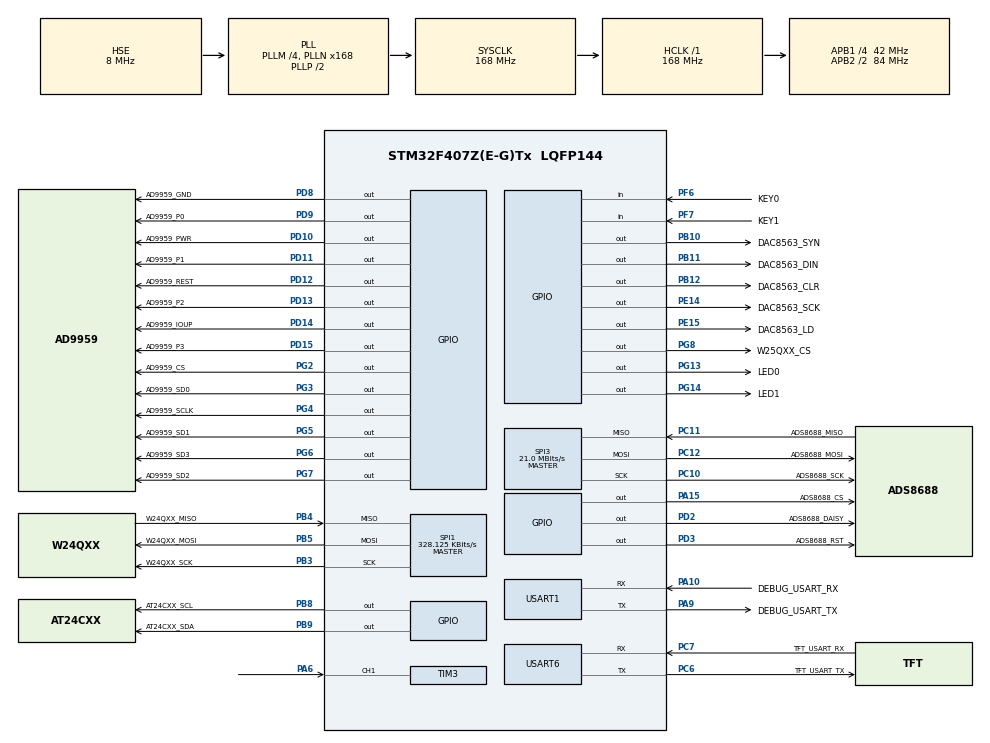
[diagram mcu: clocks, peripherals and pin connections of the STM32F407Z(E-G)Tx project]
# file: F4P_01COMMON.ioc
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Dma.Request0=SPI3_RX
Dma.Request1=SPI3_TX
Dma.Request2=USART6_TX
Dma.SPI3_RX.0.Direction=DMA_PERIPH_TO_MEMORY
Dma.SPI3_RX.0.FIFOMode=DMA_FIFOMODE_DISABLE
Dma.SPI3_RX.0.Instance=DMA1_Stream0
Dma.SPI3_RX.0.MemDataAlignment=DMA_MDATAALIGN_HALFWORD
Dma.SPI3_RX.0.MemInc=DMA_MINC_ENABLE
Dma.SPI3_RX.0.Mode=DMA_NORMAL
Dma.SPI3_RX.0.PeriphDataAlignment=DMA_PDATAALIGN_HALFWORD
Dma.SPI3_RX.0.PeriphInc=DMA_PINC_DISABLE
Dma.SPI3_RX.0.Priority=DMA_PRIORITY_LOW
Dma.SPI3_TX.1.Direction=DMA_MEMORY_TO_PERIPH
Dma.SPI3_TX.1.FIFOMode=DMA_FIFOMODE_DISABLE
Dma.SPI3_TX.1.Instance=DMA1_Stream5
Dma.SPI3_TX.1.MemDataAlignment=DMA_MDATAALIGN_HALFWORD
Dma.SPI3_TX.1.MemInc=DMA_MINC_ENABLE
Dma.SPI3_TX.1.Mode=DMA_NORMAL
Dma.SPI3_TX.1.PeriphDataAlignment=DMA_PDATAALIGN_HALFWORD
Dma.SPI3_TX.1.PeriphInc=DMA_PINC_DISABLE
Dma.SPI3_TX.1.Priority=DMA_PRIORITY_LOW
Dma.USART6_TX.2.Direction=DMA_MEMORY_TO_PERIPH
Dma.USART6_TX.2.FIFOMode=DMA_FIFOMODE_DISABLE
Dma.USART6_TX.2.Instance=DMA2_Stream6
Dma.USART6_TX.2.MemDataAlignment=DMA_MDATAALIGN_BYTE
Dma.USART6_TX.2.MemInc=DMA_MINC_ENABLE
Dma.USART6_TX.2.Mode=DMA_NORMAL
Dma.USART6_TX.2.PeriphDataAlignment=DMA_PDATAALIGN_BYTE
Dma.USART6_TX.2.PeriphInc=DMA_PINC_DISABLE
Dma.USART6_TX.2.Priority=DMA_PRIORITY_LOW
FREERTOS.CountingSemaphores01=TFT_RX_LED,10,Dynamic,NULL;TFT_TX_LED,10,Dynamic,NULL
FREERTOS.HEAP_NUMBER=5
FREERTOS.Queues01=USART6_RX,5,CTRL_MSG,0,Dynamic,NULL,NULL
FREERTOS.Tasks01=defaultTask,8,128,StartDefaultTask,Default,NULL,Dynamic,NULL,NULL;LED0_Toggle,48,128,StartLED0Toggle,As weak,NULL,Dynamic,NULL,NULL;LED1_Toggle,48,128,StartLED1Toggle,As weak,NULL,Dynamic,NULL,NULL;TFT_CMD_Process,40,128,TFT_CMD_Process_Start,As weak,NULL,Dynamic,NULL,NULL;FLASH_Data_Auto,24,128,FLASH_Data_AutoUpdate_Start,As weak,NULL,Dynamic,NULL,NULL;MainTask,39,1024,MainTask_Start,As weak,NULL,Dynamic,NULL,NULL
FREERTOS.configENABLE_FPU=1
FREERTOS.configTOTAL_HEAP_SIZE=0x6000
FREERTOS.configUSE_NEWLIB_REENTRANT=1
Mcu.Family=STM32F4
Mcu.Name=STM32F407Z(E-G)Tx
Mcu.Package=LQFP144
NVIC.DMA1_Stream0_IRQn=true\:0\:0\:true\:true\:true\:1\:false\:false\:true
NVIC.DMA1_Stream5_IRQn=true\:0\:0\:true\:true\:true\:2\:false\:false\:true
NVIC.DMA2_Stream6_IRQn=true\:5\:0\:false\:false\:true\:true\:false\:true
NVIC.PriorityGroup=NVIC_PRIORITYGROUP_4
NVIC.TIM1_UP_TIM10_IRQn=true\:1\:0\:true\:true\:true\:3\:false\:true\:true
NVIC.TIM3_IRQn=true\:0\:0\:true\:true\:true\:4\:false\:true\:true
NVIC.TIM5_IRQn=true\:1\:0\:true\:true\:true\:6\:false\:true\:true
NVIC.TIM6_DAC_IRQn=true\:15\:0\:false\:false\:true\:false\:false\:true
NVIC.TIM7_IRQn=true\:6\:0\:true\:false\:true\:true\:true\:true
NVIC.TimeBase=TIM6_DAC_IRQn
NVIC.TimeBaseIP=TIM6
NVIC.USART1_IRQn=true\:6\:0\:true\:true\:true\:5\:true\:true\:true
NVIC.USART6_IRQn=true\:5\:0\:false\:true\:true\:7\:true\:true\:true
PA10.GPIO_Label=DEBUG_USART_RX
PA10.Mode=Asynchronous
PA10.Signal=USART1_RX
PA13.Mode=Serial_Wire
PA13.Signal=SYS_JTMS-SWDIO
PA14.Mode=Serial_Wire
PA14.Signal=SYS_JTCK-SWCLK
PA15.GPIO_Label=ADS8688_CS
PA15.GPIO_PuPd=GPIO_PULLUP
PA15.GPIO_Speed=GPIO_SPEED_FREQ_VERY_HIGH
PA15.PinState=GPIO_PIN_SET
PA15.Signal=GPIO_Output
PA6.Signal=S_TIM3_CH1
PA9.GPIO_Label=DEBUG_USART_TX
PA9.Mode=Asynchronous
PA9.Signal=USART1_TX
PB10.GPIO_Label=DAC8563_SYN
PB10.GPIO_Speed=GPIO_SPEED_FREQ_VERY_HIGH
PB10.Signal=GPIO_Output
PB11.GPIO_Label=DAC8563_DIN
PB11.GPIO_Speed=GPIO_SPEED_FREQ_VERY_HIGH
PB11.Signal=GPIO_Output
PB12.GPIO_Label=DAC8563_CLR
PB12.GPIO_Speed=GPIO_SPEED_FREQ_VERY_HIGH
PB12.Signal=GPIO_Output
PB3.GPIO_Label=W24QXX_SCK
PB3.GPIO_PuPd=GPIO_PULLUP
PB3.GPIO_Speed=GPIO_SPEED_FREQ_VERY_HIGH
PB3.Mode=Full_Duplex_Master
PB3.Signal=SPI1_SCK
PB4.GPIO_Label=W24QXX_MISO
PB4.GPIO_PuPd=GPIO_PULLUP
PB4.GPIO_Speed=GPIO_SPEED_FREQ_VERY_HIGH
PB4.Mode=Full_Duplex_Master
PB4.Signal=SPI1_MISO
PB5.GPIO_Label=W24QXX_MOSI
PB5.GPIO_PuPd=GPIO_PULLUP
PB5.GPIO_Speed=GPIO_SPEED_FREQ_VERY_HIGH
PB5.Mode=Full_Duplex_Master
PB5.Signal=SPI1_MOSI
PB8.GPIO_Label=AT24CXX_SCL
PB8.GPIO_PuPd=GPIO_PULLUP
PB8.GPIO_Speed=GPIO_SPEED_FREQ_VERY_HIGH
PB8.Signal=GPIO_Output
PB9.GPIO_Label=AT24CXX_SDA
PB9.GPIO_PuPd=GPIO_PULLUP
PB9.GPIO_Speed=GPIO_SPEED_FREQ_VERY_HIGH
PB9.Signal=GPIO_Output
PC10.GPIO_Label=ADS8688_SCK
PC10.Mode=Full_Duplex_Master
PC10.Signal=SPI3_SCK
PC11.GPIO_Label=ADS8688_MISO
PC11.Mode=Full_Duplex_Master
PC11.Signal=SPI3_MISO
PC12.GPIO_Label=ADS8688_MOSI
PC12.Mode=Full_Duplex_Master
PC12.Signal=SPI3_MOSI
PC6.GPIO_Label=TFT_USART_TX
PC6.Mode=Asynchronous
PC6.Signal=USART6_TX
PC7.GPIO_Label=TFT_USART_RX
PC7.Mode=Asynchronous
PC7.Signal=USART6_RX
PD10.GPIO_Label=AD9959_PWR
PD10.GPIO_Speed=GPIO_SPEED_FREQ_VERY_HIGH
PD10.Signal=GPIO_Output
PD11.GPIO_Label=AD9959_P1
PD11.GPIO_Speed=GPIO_SPEED_FREQ_VERY_HIGH
PD11.Signal=GPIO_Output
PD12.GPIO_Label=AD9959_REST
PD12.GPIO_Speed=GPIO_SPEED_FREQ_VERY_HIGH
PD12.Signal=GPIO_Output
PD13.GPIO_Label=AD9959_P2
PD13.GPIO_Speed=GPIO_SPEED_FREQ_VERY_HIGH
PD13.Signal=GPIO_Output
PD14.GPIO_Label=AD9959_IOUP
PD14.GPIO_Speed=GPIO_SPEED_FREQ_VERY_HIGH
PD14.Signal=GPIO_Output
PD15.GPIO_Label=AD9959_P3
PD15.GPIO_Speed=GPIO_SPEED_FREQ_VERY_HIGH
PD15.Signal=GPIO_Output
PD2.GPIO_Label=ADS8688_DAISY
PD2.GPIO_ModeDefaultOutputPP=GPIO_MODE_OUTPUT_PP
PD2.GPIO_PuPd=GPIO_PULLUP
PD2.GPIO_Speed=GPIO_SPEED_FREQ_LOW
PD2.PinState=GPIO_PIN_SET
PD2.Signal=GPIO_Output
PD3.GPIO_Label=ADS8688_RST
PD3.GPIO_ModeDefaultOutputPP=GPIO_MODE_OUTPUT_PP
PD3.GPIO_PuPd=GPIO_PULLUP
PD3.GPIO_Speed=GPIO_SPEED_FREQ_LOW
PD3.PinState=GPIO_PIN_SET
PD3.Signal=GPIO_Output
PD8.GPIO_Label=AD9959_GND
PD8.GPIO_Speed=GPIO_SPEED_FREQ_VERY_HIGH
PD8.Signal=GPIO_Output
PD9.GPIO_Label=AD9959_P0
PD9.GPIO_Speed=GPIO_SPEED_FREQ_VERY_HIGH
PD9.Signal=GPIO_Output
PE14.GPIO_Label=DAC8563_SCK
PE14.GPIO_Speed=GPIO_SPEED_FREQ_VERY_HIGH
PE14.Signal=GPIO_Output
PE15.GPIO_Label=DAC8563_LD
PE15.GPIO_Speed=GPIO_SPEED_FREQ_VERY_HIGH
PE15.Signal=GPIO_Output
PF6.GPIO_Label=KEY0
PF6.GPIO_PuPd=GPIO_PULLUP
PF6.Signal=GPIO_Input
PF7.GPIO_Label=KEY1
PF7.GPIO_PuPd=GPIO_PULLUP
PF7.Signal=GPIO_Input
PG13.GPIO_Label=LED0
PG13.GPIO_ModeDefaultOutputPP=GPIO_MODE_OUTPUT_PP
PG13.GPIO_PuPd=GPIO_PULLUP
PG13.GPIO_Speed=GPIO_SPEED_FREQ_VERY_HIGH
PG13.PinState=GPIO_PIN_SET
PG13.Signal=GPIO_Output
PG14.GPIO_Label=LED1
PG14.GPIO_ModeDefaultOutputPP=GPIO_MODE_OUTPUT_PP
PG14.GPIO_PuPd=GPIO_PULLUP
PG14.GPIO_Speed=GPIO_SPEED_FREQ_VERY_HIGH
PG14.PinState=GPIO_PIN_SET
PG14.Signal=GPIO_Output
PG2.GPIO_Label=AD9959_CS
PG2.GPIO_Speed=GPIO_SPEED_FREQ_VERY_HIGH
PG2.Signal=GPIO_Output
PG3.GPIO_Label=AD9959_SD0
PG3.GPIO_Speed=GPIO_SPEED_FREQ_VERY_HIGH
PG3.Signal=GPIO_Output
PG4.GPIO_Label=AD9959_SCLK
PG4.GPIO_Speed=GPIO_SPEED_FREQ_VERY_HIGH
PG4.Signal=GPIO_Output
PG5.GPIO_Label=AD9959_SD1
PG5.GPIO_Speed=GPIO_SPEED_FREQ_VERY_HIGH
PG5.Signal=GPIO_Output
PG6.GPIO_Label=AD9959_SD3
PG6.GPIO_Speed=GPIO_SPEED_FREQ_VERY_HIGH
PG6.Signal=GPIO_Output
PG7.GPIO_Label=AD9959_SD2
PG7.GPIO_Speed=GPIO_SPEED_FREQ_VERY_HIGH
PG7.Signal=GPIO_Output
PG8.GPIO_Label=W25QXX_CS
PG8.GPIO_PuPd=GPIO_PULLUP
PG8.GPIO_Speed=GPIO_SPEED_FREQ_VERY_HIGH
PG8.PinState=GPIO_PIN_SET
PG8.Signal=GPIO_Output
PH0-OSC_IN.Mode=HSE-External-Oscillator
PH0-OSC_IN.Signal=RCC_OSC_IN
PH1-OSC_OUT.Mode=HSE-External-Oscillator
PH1-OSC_OUT.Signal=RCC_OSC_OUT
ProjectManager.HeapSize=0x200
ProjectManager.StackSize=0x400
ProjectManager.TargetToolchain=STM32CubeIDE
RCC.48MHZClocksFreq_Value=84000000
RCC.AHBFreq_Value=168000000
RCC.APB1CLKDivider=RCC_HCLK_DIV4
RCC.APB1Freq_Value=42000000
RCC.APB1TimFreq_Value=84000000
RCC.APB2CLKDivider=RCC_HCLK_DIV2
RCC.APB2Freq_Value=84000000
RCC.APB2TimFreq_Value=168000000
RCC.CortexFreq_Value=168000000
RCC.HCLKFreq_Value=168000000
RCC.HSE_VALUE=8000000
RCC.HSI_VALUE=16000000
RCC.LSE_VALUE=32768
RCC.PLLM=4
RCC.PLLN=168
RCC.PLLSourceVirtual=RCC_PLLSOURCE_HSE
RCC.SYSCLKFreq_VALUE=168000000
RCC.SYSCLKSource=RCC_SYSCLKSOURCE_PLLCLK
RCC.VCOOutputFreq_Value=336000000
SH.S_TIM3_CH1.0=TIM3_CH1,Input_Capture1_from_TI1
SPI1.BaudRatePrescaler=SPI_BAUDRATEPRESCALER_256
SPI1.CLKPhase=SPI_PHASE_2EDGE
SPI1.CLKPolarity=SPI_POLARITY_HIGH
SPI1.CalculateBaudRate=328.125 KBits/s
SPI1.Direction=SPI_DIRECTION_2LINES
SPI1.Mode=SPI_MODE_MASTER
SPI1.VirtualType=VM_MASTER
SPI3.BaudRatePrescaler=SPI_BAUDRATEPRESCALER_2
SPI3.CLKPhase=SPI_PHASE_2EDGE
SPI3.CalculateBaudRate=21.0 MBits/s
SPI3.DataSize=SPI_DATASIZE_16BIT
SPI3.Direction=SPI_DIRECTION_2LINES
SPI3.Mode=SPI_MODE_MASTER
SPI3.VirtualType=VM_MASTER
TIM1.Period=105-1
TIM1.Prescaler=25-1
TIM3.Channel-Input_Capture1_from_TI1=TIM_CHANNEL_1
TIM3.Period=100-1
TIM3.Prescaler=21-1
TIM5.Period=84000000-1
TIM7.Period=1000-1
TIM7.Prescaler=84-1
USART1.VirtualMode=VM_ASYNC
USART6.VirtualMode=VM_ASYNC
VP_FREERTOS_VS_CMSIS_V2.Mode=CMSIS_V2
VP_SYS_VS_tim6.Mode=TIM6
VP_TIM1_VS_ClockSourceINT.Mode=Internal
VP_TIM5_VS_ClockSourceINT.Mode=Internal
VP_TIM7_VS_ClockSourceINT.Mode=Enable_Timer
board=custom

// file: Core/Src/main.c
/* USER CODE BEGIN Header */
/**
  ******************************************************************************
  * @file           : main.c
  * @brief          : Main program body
  ******************************************************************************
  * @attention
  *
  * <h2><center>&copy; Copyright (c) 2021 STMicroelectronics.
  * All rights reserved.</center></h2>
  *
  * This software component is licensed by ST under BSD 3-Clause license,
  * the "License"; You may not use this file except in compliance with the
  * License. You may obtain a copy of the License at:
  *                        opensource.org/licenses/BSD-3-Clause
  *
  ******************************************************************************
  */
/* USER CODE END Header */
#include "main.h"
#include "cmsis_os.h"
#include "dma.h"
#include "spi.h"
#include "tim.h"
#include "usart.h"
#include "gpio.h"

/* USER CODE BEGIN Includes */
#include "data.h"
#include "w25qxx.h"
#include "24cxx.h"
#include "output.h"
#include "portmacro.h"
#include "hmi_user_uart.h"
#include "AD9959.h"
#include "DAC8563.h"
#include "esp8266.h"
/* USER CODE END Includes */

void SystemClock_Config(void);
void MX_FREERTOS_Init(void);
static void MX_NVIC_Init(void);

int main(void)
{
  /* USER CODE BEGIN 1 */
	extern u8 ucHeap[];
  /* USER CODE END 1 */

  /* MCU Configuration--------------------------------------------------------*/

  /* Reset of all peripherals, Initializes the Flash interface and the Systick. */
  HAL_Init();

  /* Configure the system clock */
  SystemClock_Config();

  /* Initialize all configured peripherals */
  MX_GPIO_Init();
  MX_DMA_Init();
  MX_SPI1_Init();
  MX_SPI3_Init();
  MX_TIM1_Init();
  MX_TIM3_Init();
  MX_TIM5_Init();
  MX_USART1_UART_Init();
  MX_USART6_UART_Init();
  MX_TIM7_Init();

  /* Initialize interrupts */
  MX_NVIC_Init();
  /* USER CODE BEGIN 2 */
  AT24CXX_Init();      //AT24C02-EEPROM-初始化
  W25QXX_Init();       //W25Q128-FLASH -初始化
  Init_AD9959();       //AD9959-DDS    -初始化
  DAC8563_Init();      //DAC8563-DAC   -初始化
//  TFT_Init(&RxBuffer); //TFT-串口屏    -初始化
  ESP8266_Init();      //ESP8266-WIFI  -初始化
  DATA_INIT();
  ucHeap[0] = 0;       //显示出 ucHeap 在 CCMRAM 的占用
  /* USER CODE END 2 */

  /* Init scheduler */
  osKernelInitialize();  /* Call init function for freertos objects (in freertos.c) */
  MX_FREERTOS_Init();
  /* Start scheduler */
  osKernelStart();

  /* We should never get here as control is now taken by the scheduler */
  /* Infinite loop */
  while (1)
  {

  }
}

void SystemClock_Config(void)
{
  RCC_OscInitTypeDef RCC_OscInitStruct = {0};
  RCC_ClkInitTypeDef RCC_ClkInitStruct = {0};

  /** Configure the main internal regulator output voltage
  */
  __HAL_RCC_PWR_CLK_ENABLE();
  __HAL_PWR_VOLTAGESCALING_CONFIG(PWR_REGULATOR_VOLTAGE_SCALE1);
  /** Initializes the RCC Oscillators according to the specified parameters
  * in the RCC_OscInitTypeDef structure.
  */
  RCC_OscInitStruct.OscillatorType = RCC_OSCILLATORTYPE_HSE;
  RCC_OscInitStruct.HSEState = RCC_HSE_ON;
  RCC_OscInitStruct.PLL.PLLState = RCC_PLL_ON;
  RCC_OscInitStruct.PLL.PLLSource = RCC_PLLSOURCE_HSE;
  RCC_OscInitStruct.PLL.PLLM = 4;
  RCC_OscInitStruct.PLL.PLLN = 168;
  RCC_OscInitStruct.PLL.PLLP = RCC_PLLP_DIV2;
  RCC_OscInitStruct.PLL.PLLQ = 4;
  if (HAL_RCC_OscConfig(&RCC_OscInitStruct) != HAL_OK)
  {
    Error_Handler();
  }
  /** Initializes the CPU, AHB and APB buses clocks
  */
  RCC_ClkInitStruct.ClockType = RCC_CLOCKTYPE_HCLK|RCC_CLOCKTYPE_SYSCLK
                              |RCC_CLOCKTYPE_PCLK1|RCC_CLOCKTYPE_PCLK2;
  RCC_ClkInitStruct.SYSCLKSource = RCC_SYSCLKSOURCE_PLLCLK;
  RCC_ClkInitStruct.AHBCLKDivider = RCC_SYSCLK_DIV1;
  RCC_ClkInitStruct.APB1CLKDivider = RCC_HCLK_DIV4;
  RCC_ClkInitStruct.APB2CLKDivider = RCC_HCLK_DIV2;

  if (HAL_RCC_ClockConfig(&RCC_ClkInitStruct, FLASH_LATENCY_5) != HAL_OK)
  {
    Error_Handler();
  }
}

/**
  * @brief NVIC Configuration.
  * @retval None
  */
static void MX_NVIC_Init(void)
{
  /* DMA1_Stream0_IRQn interrupt configuration */
  HAL_NVIC_SetPriority(DMA1_Stream0_IRQn, 0, 0);
  HAL_NVIC_EnableIRQ(DMA1_Stream0_IRQn);
  /* DMA1_Stream5_IRQn interrupt configuration */
  HAL_NVIC_SetPriority(DMA1_Stream5_IRQn, 0, 0);
  HAL_NVIC_EnableIRQ(DMA1_Stream5_IRQn);
  /* TIM1_UP_TIM10_IRQn interrupt configuration */
  HAL_NVIC_SetPriority(TIM1_UP_TIM10_IRQn, 1, 0);
  HAL_NVIC_EnableIRQ(TIM1_UP_TIM10_IRQn);
  /* TIM3_IRQn interrupt configuration */
  HAL_NVIC_SetPriority(TIM3_IRQn, 0, 0);
  HAL_NVIC_EnableIRQ(TIM3_IRQn);
  /* USART1_IRQn interrupt configuration */
  HAL_NVIC_SetPriority(USART1_IRQn, 6, 0);
  HAL_NVIC_EnableIRQ(USART1_IRQn);
  /* TIM5_IRQn interrupt configuration */
  HAL_NVIC_SetPriority(TIM5_IRQn, 1, 0);
  HAL_NVIC_EnableIRQ(TIM5_IRQn);
  /* USART6_IRQn interrupt configuration */
  HAL_NVIC_SetPriority(USART6_IRQn, 5, 0);
  HAL_NVIC_EnableIRQ(USART6_IRQn);
}

/* USER CODE BEGIN 4 */

#ifdef USE_THIS
/* USER CODE END 4 */

void HAL_TIM_PeriodElapsedCallback(TIM_HandleTypeDef *htim)
{
  if (htim->Instance == TIM6) {
    HAL_IncTick();
  }
  /* USER CODE BEGIN Callback 1 */
#endif
__weak void meanless(void){
  /* USER CODE END Callback 1 */
}

void Error_Handler(void)
{
  /* USER CODE BEGIN Error_Handler_Debug */
  /* User can add his own implementation to report the HAL error return state */
  __disable_irq();
  LED0_ON;
  LED1_ON;
  while (1)
  {
  }
  /* USER CODE END Error_Handler_Debug */
}

/************************ (C) COPYRIGHT STMicroelectronics *****END OF FILE****/

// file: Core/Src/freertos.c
/* USER CODE BEGIN Header */
/**
  ******************************************************************************
  * File Name          : freertos.c
  * Description        : Code for freertos applications
  ******************************************************************************
  * @attention
  *
  * <h2><center>&copy; Copyright (c) 2021 STMicroelectronics.
  * All rights reserved.</center></h2>
  *
  * This software component is licensed by ST under Ultimate Liberty license
  * SLA0044, the "License"; You may not use this file except in compliance with
  * the License. You may obtain a copy of the License at:
  *                             www.st.com/SLA0044
  *
  ******************************************************************************
  */
/* USER CODE END Header */

#include "FreeRTOS.h"
#include "task.h"
#include "main.h"
#include "cmsis_os.h"

/* USER CODE BEGIN Includes */
#include "cmd_process.h"
/* USER CODE END Includes */

/* USER CODE BEGIN PD */
#define TASK void (*)(void *)
/* USER CODE END PD */

/* Definitions for defaultTask */
osThreadId_t defaultTaskHandle;
const osThreadAttr_t defaultTask_attributes = {
  .name = "defaultTask",
  .stack_size = 128 * 4,
  .priority = (osPriority_t) osPriorityLow,
};
/* Definitions for LED0_Toggle */
osThreadId_t LED0_ToggleHandle;
const osThreadAttr_t LED0_Toggle_attributes = {
  .name = "LED0_Toggle",
  .stack_size = 128 * 4,
  .priority = (osPriority_t) osPriorityRealtime,
};
/* Definitions for LED1_Toggle */
osThreadId_t LED1_ToggleHandle;
const osThreadAttr_t LED1_Toggle_attributes = {
  .name = "LED1_Toggle",
  .stack_size = 128 * 4,
  .priority = (osPriority_t) osPriorityRealtime,
};
/* Definitions for TFT_CMD_Process */
osThreadId_t TFT_CMD_ProcessHandle;
const osThreadAttr_t TFT_CMD_Process_attributes = {
  .name = "TFT_CMD_Process",
  .stack_size = 128 * 4,
  .priority = (osPriority_t) osPriorityHigh,
};
/* Definitions for FLASH_Data_Auto */
osThreadId_t FLASH_Data_AutoHandle;
const osThreadAttr_t FLASH_Data_Auto_attributes = {
  .name = "FLASH_Data_Auto",
  .stack_size = 128 * 4,
  .priority = (osPriority_t) osPriorityNormal,
};
/* Definitions for MainTask */
osThreadId_t MainTaskHandle;
const osThreadAttr_t MainTask_attributes = {
  .name = "MainTask",
  .stack_size = 1024 * 4,
  .priority = (osPriority_t) osPriorityAboveNormal7,
};
/* Definitions for USART6_RX */
osMessageQueueId_t USART6_RXHandle;
const osMessageQueueAttr_t USART6_RX_attributes = {
  .name = "USART6_RX"
};
/* Definitions for TFT_RX_LED */
osSemaphoreId_t TFT_RX_LEDHandle;
const osSemaphoreAttr_t TFT_RX_LED_attributes = {
  .name = "TFT_RX_LED"
};
/* Definitions for TFT_TX_LED */
osSemaphoreId_t TFT_TX_LEDHandle;
const osSemaphoreAttr_t TFT_TX_LED_attributes = {
  .name = "TFT_TX_LED"
};

/* USER CODE BEGIN FunctionPrototypes */
//// FreeRTOS ��ջ��
//_CCM u8 ucHeap[configTOTAL_HEAP_SIZE];
//const HeapRegion_t xHeapRegions[] =
//{
//    { ucHeap, configTOTAL_HEAP_SIZE },
//    { NULL, 0 }
//};
/* USER CODE END FunctionPrototypes */

void StartDefaultTask(void *argument);
void StartLED0Toggle(void *argument);
void StartLED1Toggle(void *argument);
void TFT_CMD_Process_Start(void *argument);
void FLASH_Data_AutoUpdate_Start(void *argument);
void MainTask_Start(void *argument);

void MX_FREERTOS_Init(void); /* (MISRA C 2004 rule 8.1) */

void MX_FREERTOS_Init(void) {

  /* Create the semaphores(s) */
  /* creation of TFT_RX_LED */
  TFT_RX_LEDHandle = osSemaphoreNew(10, 10, &TFT_RX_LED_attributes);

  /* creation of TFT_TX_LED */
  TFT_TX_LEDHandle = osSemaphoreNew(10, 10, &TFT_TX_LED_attributes);

  /* Create the queue(s) */
  /* creation of USART6_RX */
  USART6_RXHandle = osMessageQueueNew (5, sizeof(CTRL_MSG), &USART6_RX_attributes);

  /* Create the thread(s) */
  /* creation of defaultTask */
  defaultTaskHandle = osThreadNew(StartDefaultTask, NULL, &defaultTask_attributes);

  /* creation of LED0_Toggle */
  LED0_ToggleHandle = osThreadNew(StartLED0Toggle, NULL, &LED0_Toggle_attributes);

  /* creation of LED1_Toggle */
  LED1_ToggleHandle = osThreadNew(StartLED1Toggle, NULL, &LED1_Toggle_attributes);

  /* creation of TFT_CMD_Process */
  TFT_CMD_ProcessHandle = osThreadNew(TFT_CMD_Process_Start, NULL, &TFT_CMD_Process_attributes);

  /* creation of FLASH_Data_Auto */
  FLASH_Data_AutoHandle = osThreadNew(FLASH_Data_AutoUpdate_Start, NULL, &FLASH_Data_Auto_attributes);

  /* creation of MainTask */
  MainTaskHandle = osThreadNew(MainTask_Start, NULL, &MainTask_attributes);

}

void StartDefaultTask(void *argument)
{
  for(;;)
  {
    osDelay(1);
  }
}

__weak void StartLED0Toggle(void *argument)
{
  for(;;)
  {
    osDelay(1);
  }
}

__weak void StartLED1Toggle(void *argument)
{
  for(;;)
  {
    osDelay(1);
  }
}

__weak void TFT_CMD_Process_Start(void *argument)
{
  for(;;)
  {
    osDelay(1);
  }
}

__weak void FLASH_Data_AutoUpdate_Start(void *argument)
{
  for(;;)
  {
    osDelay(1);
  }
}

__weak void MainTask_Start(void *argument)
{
  for(;;)
  {
    osDelay(1);
  }
}

/************************ (C) COPYRIGHT STMicroelectronics *****END OF FILE****/
